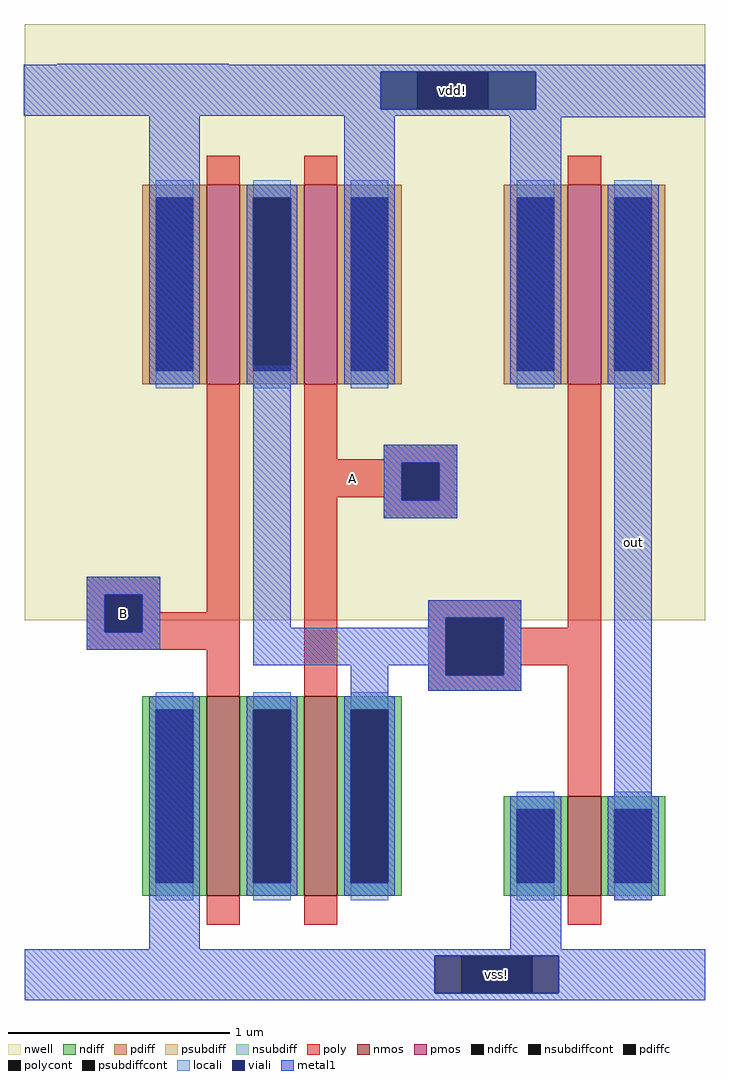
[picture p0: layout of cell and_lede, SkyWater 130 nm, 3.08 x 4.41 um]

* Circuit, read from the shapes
.subckt and_lede A B out vdd! vss!
XM1 n1 B vss! vss! sky130_fd_pr__nfet_01v8 w=0.9 l=0.15
XM2 n2 A n1 vss! sky130_fd_pr__nfet_01v8 w=0.9 l=0.15
XM3 out n2 vss! vss! sky130_fd_pr__nfet_01v8 w=0.45 l=0.15
XM4 n2 B vdd! vdd! sky130_fd_pr__pfet_01v8 w=0.9 l=0.15
XM5 vdd! A n2 vdd! sky130_fd_pr__pfet_01v8 w=0.9 l=0.15
XM6 out n2 vdd! vdd! sky130_fd_pr__pfet_01v8 w=0.9 l=0.15
.ends

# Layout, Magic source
magic
tech sky130A
magscale 1 2
<< nwell >>
rect -66 119 548 400
rect -66 13 394 119
rect -66 -138 548 13
<< psubdiff >>
rect 304 -475 328 -441
rect 392 -475 416 -441
<< nsubdiff >>
rect 255 323 288 357
rect 352 323 395 357
<< psubdiffcont >>
rect 328 -475 392 -441
<< nsubdiffcont >>
rect 288 323 352 357
<< poly >>
rect -10 -115 56 -99
rect -10 -149 6 -115
rect 40 -131 56 -115
rect 98 -131 128 61
rect 40 -149 128 -131
rect -10 -165 128 -149
rect 98 -181 128 -165
rect 186 7 216 56
rect 258 7 324 20
rect 186 4 324 7
rect 186 -27 274 4
rect 186 -205 216 -27
rect 258 -30 274 -27
rect 308 -30 324 4
rect 258 -46 324 -30
rect 298 -136 382 -120
rect 298 -188 314 -136
rect 366 -145 382 -136
rect 424 -145 454 53
rect 366 -179 454 -145
rect 366 -188 382 -179
rect 298 -202 382 -188
rect 424 -271 454 -179
<< polycont >>
rect 6 -149 40 -115
rect 274 -30 308 4
rect 314 -188 366 -136
<< locali >>
rect 258 4 324 20
rect 258 -30 274 4
rect 308 -30 324 4
rect 258 -46 324 -30
rect -10 -115 56 -99
rect -10 -149 6 -115
rect 40 -149 56 -115
rect -10 -165 56 -149
rect 298 -136 382 -120
rect 298 -188 314 -136
rect 366 -188 382 -136
rect 298 -202 382 -188
<< viali >>
rect 255 323 288 357
rect 288 323 352 357
rect 352 323 395 357
rect 274 -30 308 4
rect 6 -149 40 -115
rect 314 -188 366 -136
rect 304 -475 328 -441
rect 328 -475 392 -441
rect 392 -475 416 -441
<< metal1 >>
rect -37 363 118 364
rect -67 357 548 363
rect -67 323 255 357
rect 395 323 548 357
rect -67 317 548 323
rect 46 75 92 317
rect -10 -115 56 -99
rect -10 -149 6 -115
rect 40 -149 56 -115
rect -10 -165 56 -149
rect 140 -145 174 92
rect 222 75 268 317
rect 371 316 548 317
rect 372 75 418 316
rect 258 4 324 20
rect 258 -30 274 4
rect 308 -30 324 4
rect 258 -46 324 -30
rect 298 -136 382 -120
rect 298 -145 314 -136
rect 140 -179 314 -145
rect 228 -207 262 -179
rect 298 -188 314 -179
rect 366 -188 382 -136
rect 298 -202 382 -188
rect 46 -435 92 -207
rect 372 -435 418 -297
rect 466 -391 500 255
rect -66 -441 548 -435
rect -66 -475 304 -441
rect 416 -475 548 -441
rect -66 -481 548 -475
use sky130_fd_pr__pfet_01v8_5AYHFE  sky130_fd_pr__pfet_01v8_5AYHFE_0
transform 1 0 113 0 1 165
box -109 -152 109 152
use sky130_fd_pr__pfet_01v8_5AYHFE  sky130_fd_pr__pfet_01v8_5AYHFE_1
transform 1 0 201 0 1 165
box -109 -152 109 152
use sky130_fd_pr__pfet_01v8_5AYHFE  sky130_fd_pr__pfet_01v8_5AYHFE_2
transform 1 0 439 0 1 165
box -109 -152 109 152
use sky130_fd_pr__nfet_01v8_P8KVP3  sky130_fd_pr__nfet_01v8_P8KVP3_0
transform 1 0 113 0 1 -297
box -73 -116 73 116
use sky130_fd_pr__nfet_01v8_P8KVP3  sky130_fd_pr__nfet_01v8_P8KVP3_1
transform 1 0 201 0 1 -297
box -73 -116 73 116
use sky130_fd_pr__nfet_01v8_NNQ2PV  sky130_fd_pr__nfet_01v8_NNQ2PV_0
transform 1 0 439 0 1 -342
box -73 -71 73 71
<< labels >>
rlabel metal1 466 -391 500 255 1 out
rlabel metal1 6 -149 40 -115 1 B
rlabel poly 186 -27 274 7 1 A
rlabel nwell 288 323 352 357 1 vdd!
rlabel metal1 304 -475 416 -441 1 vss!
<< end >>

# cell sky130_fd_pr__pfet_01v8_5AYHFE: kit device sky130_fd_pr__pfet_01v8, w 0.9 l 0.15 m 1 nf 1 diffcov 100 polycov 100 guard 0 glc 0 grc 0 gtc 0 gbc 0 tbcov 100 rlcov 100 topc 0 botc 0 poverlap 0 doverlap 1 lmin 0.15 wmin 0.42 compatible {sky130_fd_pr__pfet_01v8 sky130_fd_pr__pfet_01v8_lvt sky130_fd_pr__pfet_01v8_hvt sky130_fd_pr__pfet_g5v0d10v5} full_metal 0 viasrc 100 viadrn 100 viagate 100 viagb 0 viagr 0 viagl 0 viagt 0

# cell sky130_fd_pr__nfet_01v8_P8KVP3: kit device sky130_fd_pr__nfet_01v8, w 0.9 l 0.150 m 1 nf 1 diffcov 100 polycov 100 guard 0 glc 0 grc 0 gtc 0 gbc 0 tbcov 100 rlcov 100 topc 0 botc 0 poverlap 0 doverlap 1 lmin 0.15 wmin 0.42 compatible {sky130_fd_pr__nfet_01v8 sky130_fd_pr__nfet_01v8_lvt sky130_fd_bs_flash__special_sonosfet_star sky130_fd_pr__nfet_g5v0d10v5 sky130_fd_pr__nfet_05v0_nvt} full_metal 0 viasrc 100 viadrn 100 viagate 100 viagb 0 viagr 0 viagl 0 viagt 0

# cell sky130_fd_pr__nfet_01v8_NNQ2PV: kit device sky130_fd_pr__nfet_01v8, w 0.450 l 0.150 m 1 nf 1 diffcov 100 polycov 100 guard 0 glc 0 grc 0 gtc 0 gbc 0 tbcov 100 rlcov 100 topc 0 botc 0 poverlap 0 doverlap 1 lmin 0.15 wmin 0.42 compatible {sky130_fd_pr__nfet_01v8 sky130_fd_pr__nfet_01v8_lvt sky130_fd_bs_flash__special_sonosfet_star sky130_fd_pr__nfet_g5v0d10v5 sky130_fd_pr__nfet_05v0_nvt} full_metal 0 viasrc 100 viadrn 100 viagate 100 viagb 0 viagr 0 viagl 0 viagt 0
